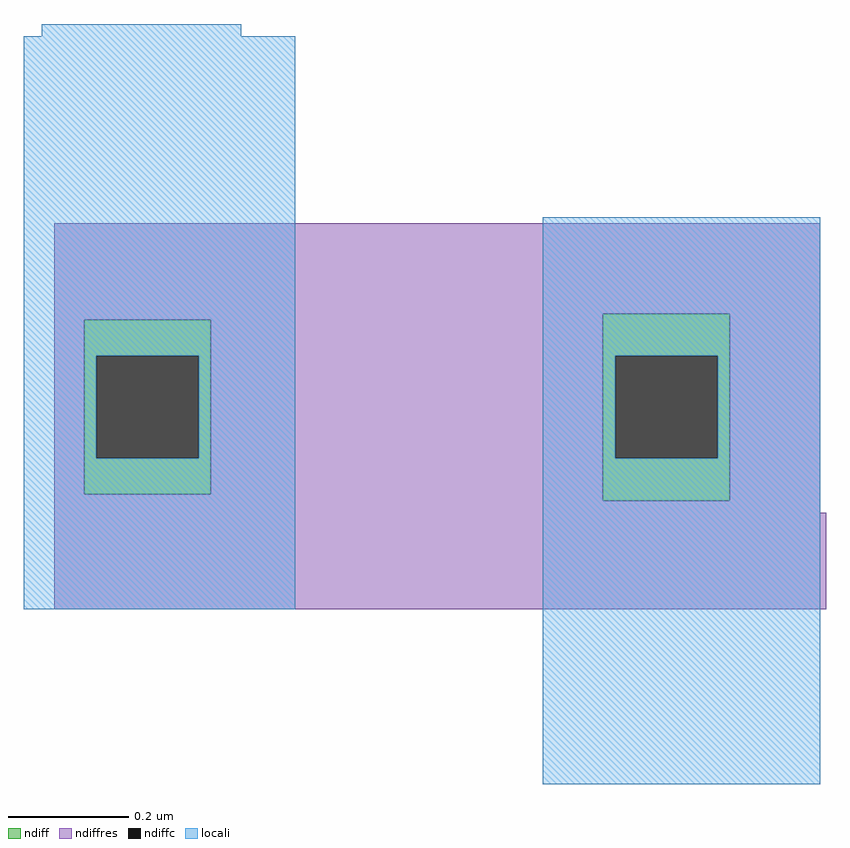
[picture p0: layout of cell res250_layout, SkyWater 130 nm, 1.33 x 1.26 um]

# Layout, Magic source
magic
tech sky130A
<< ndiff >>
rect 119 -100 140 -94
rect 119 -117 121 -100
rect 138 -117 140 -100
rect 119 -123 140 -117
rect 205 -100 226 -93
rect 205 -117 207 -100
rect 224 -117 226 -100
rect 205 -124 226 -117
<< ndiffc >>
rect 121 -117 138 -100
rect 207 -117 224 -100
<< ndiffres >>
rect 114 -93 241 -78
rect 114 -94 205 -93
rect 114 -123 119 -94
rect 140 -123 205 -94
rect 114 -124 205 -123
rect 226 -124 241 -93
rect 114 -126 241 -124
rect 114 -142 242 -126
<< locali >>
rect 112 -47 145 -45
rect 109 -100 154 -47
rect 109 -117 121 -100
rect 138 -117 154 -100
rect 109 -142 154 -117
rect 195 -100 241 -77
rect 195 -117 207 -100
rect 224 -117 241 -100
rect 195 -171 241 -117
<< end >>
